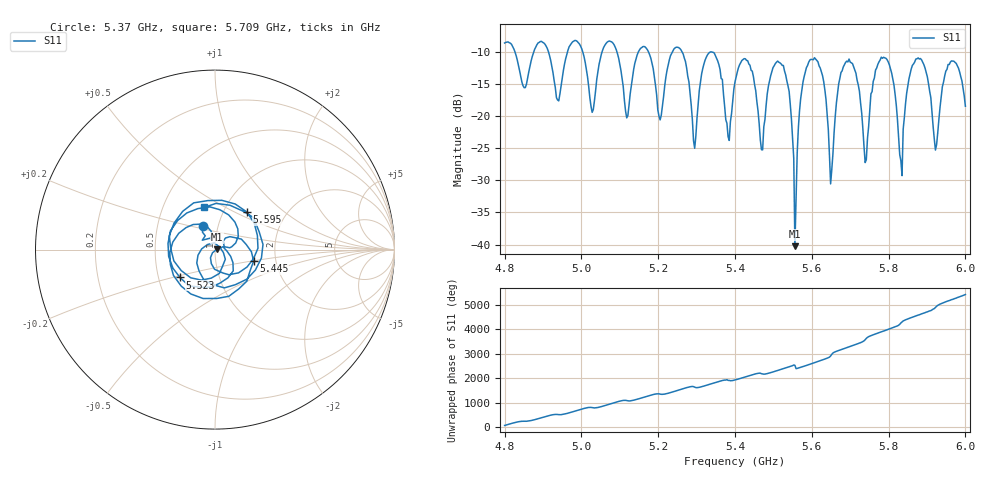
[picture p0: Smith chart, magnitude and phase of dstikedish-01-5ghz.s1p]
! NanoVNA-App
! Date: 2026-05-22 20:01:43
! Start: 4.8GHz Stop: 6GHz Points: 401
! S-Parameter data: F S11
# Hz S RI R 50
!  Frequency  S11_Real  S11_Imag
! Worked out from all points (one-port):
!   401 points, 4.8 GHz to 6 GHz, reference 50 ohm
!   lowest |S11| = -40.3 dB at 5.556 GHz (marker M1), VSWR 1.02, Z = 51 + j0.126 ohm
!   |S11| at or under -10 dB: 5.175 GHz to 5.237 GHz (61.65 MHz wide, 1.18 % of centre); 5.262 GHz to 5.335 GHz (72.93 MHz wide, 1.38 % of centre); 5.341 GHz to end of sweep (the widest 3 of 7)
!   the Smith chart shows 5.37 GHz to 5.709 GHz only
!   S11 on the Smith chart (normalised r, x): 5.37 GHz: 0.84, +0.23; 5.445 GHz: 1.53, -0.21; 5.523 GHz: 0.65, -0.21; 5.595 GHz: 1.28, +0.58; 5.709 GHz: 0.80, +0.40
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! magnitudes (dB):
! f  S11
! 4.8 GHz  -8.6
! 4.95 GHz  -14.1
! 5.1 GHz  -11.9
! 5.118 GHz  -20.2
! 5.169 GHz  -9.4
! 5.205 GHz  -20.6
! 5.25 GHz  -9.2
! 5.295 GHz  -25.0
! 5.331 GHz  -10.2
! 5.37 GHz  -16.5
! 5.4 GHz  -14.6
! 5.445 GHz  -13.0
! 5.469 GHz  -25.2
! 5.523 GHz  -12.1
! 5.55 GHz  -23.5
! 5.556 GHz  -40.3
! 5.595 GHz  -11.2
! 5.652 GHz  -28.3
! 5.7 GHz  -11.5
! 5.709 GHz  -12.3
! 5.739 GHz  -27.2
! 5.778 GHz  -11.2
! 5.832 GHz  -27.0
! 5.85 GHz  -15.3
! 5.889 GHz  -11.6
! 5.922 GHz  -25.3
! 5.961 GHz  -11.5
! 6 GHz  -18.4
